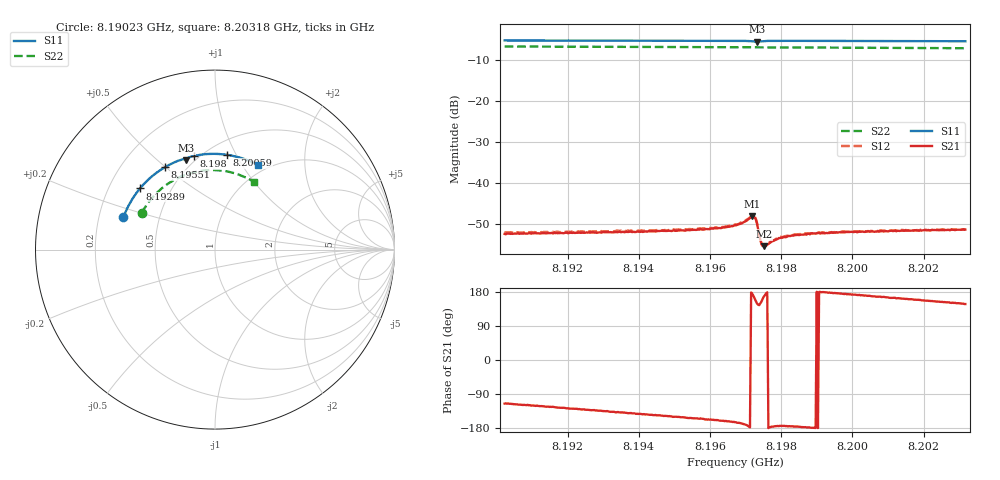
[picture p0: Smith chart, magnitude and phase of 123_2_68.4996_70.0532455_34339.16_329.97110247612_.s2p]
#  HZ  S  RI  R  50.00
! Rohde & Schwarz Vector Network Analyzer
! Rohde-Schwarz,ZNB20-2Port,1311601062101988,3.16
! Created: UTC 3/20/2024, 5:09:12 PM
! freq[Hz]  re:S11  im:S11  re:S21  im:S21  re:S12  im:S12  re:S22  im:S22
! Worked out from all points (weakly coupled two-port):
!   401 points, 8.19023 GHz to 8.20318 GHz, reference 50 ohm
!   highest |S21| = -48.12 dB at 8.19719 GHz (marker M1); lowest = -55.4 dB at 8.19751 GHz (marker M2)
!   lowest |S11| = -5.6 dB at 8.19732 GHz (marker M3), VSWR 3.19, Z = 22.8 + j31.2 ohm
!   |S11| at or under -10 dB: nowhere
!   |S22| runs from -7.2 to -6.8 dB; largest |S21 - S12| = 0.00021
!   S11 on the Smith chart (normalised r, x): 8.19023 GHz: 0.31, +0.16; 8.19289 GHz: 0.33, +0.32; 8.19551 GHz: 0.39, +0.50; 8.198 GHz: 0.47, +0.68; 8.20059 GHz: 0.62, +0.92; 8.20318 GHz: 0.90, +1.18
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8.190232e9  -0.51 0.1796  -0.00102 -0.00217  -0.00108 -0.00224  -0.4085 0.2034
8.1924e9  -0.439 0.3138  -0.00162 -0.00189  -0.00175 -0.0019  -0.3388 0.3015
8.192886e9  -0.4181 0.3406  -0.00174 -0.0018  -0.00183 -0.00182  -0.3196 0.3208
8.194568e9  -0.333 0.4228  -0.00215 -0.00146  -0.00226 -0.00139  -0.2451 0.3779
8.195507e9  -0.278 0.4599  -0.00241 -0.00119  -0.00248 -0.00115  -0.1988 0.4027
8.196251e9  -0.231 0.4843  -0.00265 -0.000984  -0.00275 -0.000894  -0.1598 0.4184
8.196704e9  -0.2003 0.4969  -0.00294 -0.000837  -0.00304 -0.000731  -0.1356 0.4261
8.196963e9  -0.1812 0.5025  -0.0033 -0.000617  -0.00339 -0.000499  -0.1215 0.4298
8.197189e9  -0.1624 0.5021  -0.00391 0.000387  -0.00393 0.00054  -0.109 0.4326
8.197254e9  -0.1593 0.4989  -0.00365 0.00114  -0.00371 0.0013  -0.1054 0.4332
8.197319e9  -0.1601 0.4972  -0.00281 0.00165  -0.00281 0.00178  -0.1021 0.4339
8.197416e9  -0.1603 0.5027  -0.00175 0.00102  -0.00175 0.00114  -0.0968 0.4351
8.197448e9  -0.1587 0.505  -0.00161 0.000778  -0.00165 0.000848  -0.095 0.4355
8.197513e9  -0.1545 0.5088  -0.00166 0.000375  -0.00165 0.000442  -0.0913 0.4362
8.197578e9  -0.1498 0.5116  -0.00172 0.000124  -0.00173 0.000196  -0.0878 0.437
8.19774e9  -0.1377 0.5163  -0.00193 -0.000145  -0.00197 -7.97e-05  -0.0787 0.4385
8.197998e9  -0.1186 0.5216  -0.00214 -0.000235  -0.00221 -0.000121  -0.0641 0.4405
8.198419e9  -0.0887 0.5275  -0.00232 -0.000172  -0.00236 -6e-05  -0.0402 0.4424
8.198872e9  -0.0564 0.5313  -0.00244 -5.04e-05  -0.00244 5.65e-05  -0.0146 0.4432
8.200587e9  0.0648 0.5285  -0.00251 0.000537  -0.00254 0.000649  0.0821 0.4324
8.20104e9  0.0963 0.523  -0.00251 0.000702  -0.00249 0.000789  0.1072 0.4261
8.203176e9  0.2383 0.4722  -0.00229 0.00145  -0.00223 0.00152  0.2187 0.376
